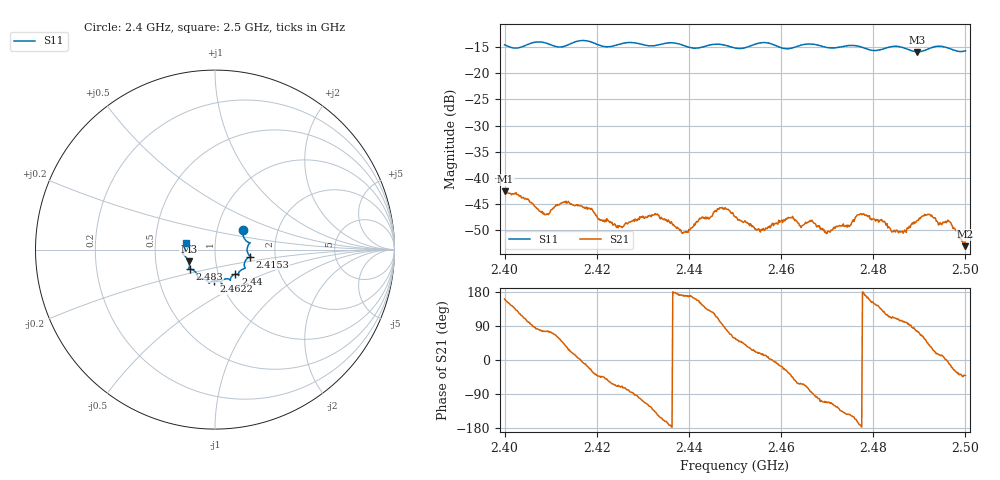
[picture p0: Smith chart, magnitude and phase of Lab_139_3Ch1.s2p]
# Hz S RI R 50
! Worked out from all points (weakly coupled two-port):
!   601 points, 2.4 GHz to 2.5 GHz, reference 50 ohm
!   highest |S21| = -42.60 dB at 2.4002 GHz (marker M1); lowest = -53.1 dB at 2.5 GHz (marker M2)
!   lowest |S11| = -15.9 dB at 2.4895 GHz (marker M3), VSWR 1.38, Z = 36.9 - j5.01 ohm
!   |S11| at or under -10 dB: start of sweep to end of sweep
!   S12 and S22 are empty: the file has one direction only
!   S11 on the Smith chart (normalised r, x): 2.4 GHz: 1.33, +0.29; 2.4153 GHz: 1.48, -0.12; 2.44 GHz: 1.20, -0.34; 2.4622 GHz: 0.93, -0.33; 2.483 GHz: 0.74, -0.17; 2.5 GHz: 0.72, +0.06
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2.4e9  0.1545 0.1064  -0.00689 0.00237  0 0  0 0
2.400167e9  0.1542 0.104  -0.00688 0.00278  0 0  0 0
2.408833e9  0.1926 0.0353  0.00109 0.00431  0 0  0 0
2.415333e9  0.1965 -0.039  0.0053 0.00116  0 0  0 0
2.416667e9  0.2016 -0.0428  0.00539 -0.000256  0 0  0 0
2.424667e9  0.164 -0.093  0.00131 -0.00307  0 0  0 0
2.433333e9  0.1308 -0.1336  -0.00365 -0.00242  0 0  0 0
2.44e9  0.1138 -0.1368  -0.00315 0.000624  0 0  0 0
2.446667e9  0.0848 -0.1697  -0.00106 0.00507  0 0  0 0
2.45e9  0.0646 -0.1625  0.00226 0.0036  0 0  0 0
2.455167e9  0.0365 -0.1911  0.00307 0.00109  0 0  0 0
2.462167e9  -0.00733 -0.1737  0.00315 -0.00273  0 0  0 0
2.466667e9  -0.034 -0.1875  0.00025 -0.00393  0 0  0 0
2.47e9  -0.0476 -0.17  -0.00114 -0.00272  0 0  0 0
2.4775e9  -0.0973 -0.1492  -0.00445 -0.000231  0 0  0 0
2.483e9  -0.1377 -0.1095  -0.00182 0.00316  0 0  0 0
2.483333e9  -0.1399 -0.1094  -0.00137 0.00309  0 0  0 0
2.486667e9  -0.144 -0.0998  -0.000621 0.00301  0 0  0 0
2.4895e9  -0.1464 -0.0661  0.000891 0.0038  0 0  0 0
2.491667e9  -0.165 -0.0381  0.00308 0.0032  0 0  0 0
2.4965e9  -0.173 -0.0116  0.00374 -0.000706  0 0  0 0
2.5e9  -0.1598 0.0392  0.00168 -0.00145  0 0  0 0
